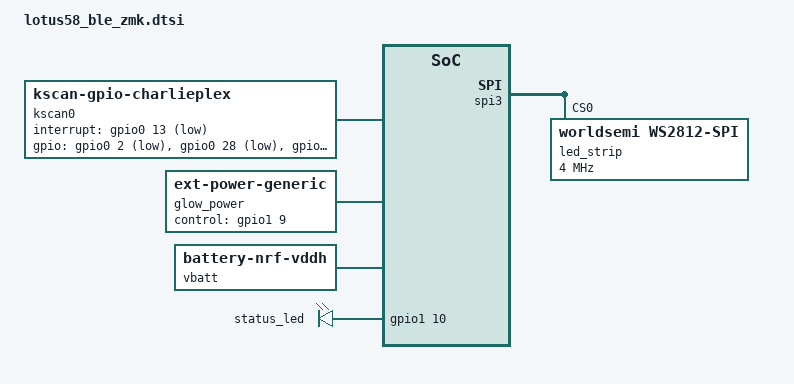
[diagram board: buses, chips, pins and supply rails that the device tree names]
// SPDX-License-Identifier: MIT

#include "lotus58_ble-layouts.dtsi" // Layout file with matrix transform and physical layout.
#include "lotus58_ble-pinctrl.dtsi" // Pin control for the RGB LEDs and nice!view display.
#include <dt-bindings/led/led.h> // Needed for the color-mapping of the LEDs.
#include <dt-bindings/zmk/hid_indicators.h> // Needed for the blue indicator LED.

/ {
	chosen {
		zmk,kscan = &kscan0;
		zmk,physical-layout = &physical_layout0; // References the layouts file.
		zmk,underglow = &led_strip; // Needed for underglow.
		zmk,battery = &vbatt; // Needed for battery level sensing.
	};

	kscan0: kscan0 {
		compatible = "zmk,kscan-gpio-charlieplex";
		wakeup-source;

		// Matrix pin-labels as taken from the schematic.
		// Pin0 = P0.02
		// Pin1 = P0.28
		// Pin2 = P0.03
		// Pin3 = P0.09
		// Pin4 = P0.10
		// Pin5 = P0.24
		// Pin6 = P0.13

		// Pin connections as noted in the schematic.
		// |      |      | Pin1 | Pin2 | Pin3 | Pin4 | Pin5 | Pin0 |
		// |      |      |      |      |      |      |      |      |
		// | Pin6 |      |      | SW01 | SW02 | SW03 | SW04 | SW05 |
		// | Pin6 |      | SW06 |      | SW07 | SW08 | SW09 | SW10 |
		// | Pin6 |      | SW11 | SW12 |      | SW13 | SW14 | SW15 |
		// | Pin6 |      | SW16 | SW17 | SW18 |      | SW19 | SW20 |
		// | Pin6 |      | SW21 | SW22 | SW23 | SW24 |      | SW25 |
		// | Pin6 |      |      | SW26 | SW27 | SW28 | SW29 |      |

		interrupt-gpios = <&gpio0 13 (GPIO_ACTIVE_LOW | GPIO_PULL_UP)>;
		gpios
			= <&gpio0  2 GPIO_ACTIVE_LOW>
			, <&gpio0 28 GPIO_ACTIVE_LOW>
			, <&gpio0  3 GPIO_ACTIVE_LOW>
			, <&gpio0  9 GPIO_ACTIVE_LOW>
			, <&gpio0 10 GPIO_ACTIVE_LOW>
			, <&gpio0 24 GPIO_ACTIVE_LOW>
			;
	};

	left_encoder: encoder-left {
		compatible = "alps,ec11";
		a-gpios = <&gpio1 11 (GPIO_ACTIVE_HIGH | GPIO_PULL_UP)>;
		b-gpios = <&gpio1 13 (GPIO_ACTIVE_HIGH | GPIO_PULL_UP)>;
		steps = <80>;

		status = "disabled";
	};

	right_encoder: encoder-right {
		compatible = "alps,ec11";
		a-gpios = <&gpio1 11 (GPIO_ACTIVE_HIGH | GPIO_PULL_UP)>;
		b-gpios = <&gpio1 13 (GPIO_ACTIVE_HIGH | GPIO_PULL_UP)>;
		steps = <80>;

		status = "disabled";
	};

	sensors: sensors {
		compatible = "zmk,keymap-sensors";
		sensors = <&left_encoder &right_encoder>;
		triggers-per-rotation = <20>;
	};

	// Controls the power of the LEDs through the onboard MOSFETs.
	// Unused because of an error on the PCB. Q3 is wired wrong and thus the power toggle doesn't work.
	glow_power: ext-power {
		compatible = "zmk,ext-power-generic";
		control-gpios = <&gpio1 9 GPIO_ACTIVE_HIGH>;
		init-delay-ms = <50>;
	};

	// Uses the nRF52840s built-in VDDH battery level sensor.
	vbatt: vbatt {
		compatible = "zmk,battery-nrf-vddh";
	};

	leds {
		compatible = "gpio-leds";
		status_led: status-led {
			gpios = <&gpio1 10 GPIO_ACTIVE_HIGH>;
		};
	};

	indicator_led: indicators {
		compatible = "zmk,indicator-leds";

		status = "disabled";

		lock_indicator: lock-indicator {
			indicator = <(HID_INDICATOR_CAPS_LOCK | HID_INDICATOR_NUM_LOCK | HID_INDICATOR_SCROLL_LOCK)>;
			leds = <&status_led>;
		};
	};
};

&spi3 {
	compatible = "nordic,nrf-spim";
	pinctrl-0 = <&spi3_default>;
	pinctrl-1 = <&spi3_sleep>;
	pinctrl-names = "default", "sleep";

	status = "okay";

	// The Lotus58 BLE uses WS2812 compatible SK6812MINI-E LEDs.
	led_strip: ws2812@0 {
		compatible = "worldsemi,ws2812-spi";
		reg = <0>;
		spi-max-frequency = <4000000>;
		chain-length = <29>; // Number of LEDs in the faux-backlight chain, matching the 29 possible switches.
		spi-one-frame = <0x70>;
		spi-zero-frame = <0x40>;
		color-mapping = <
			LED_COLOR_ID_GREEN
			LED_COLOR_ID_RED
			LED_COLOR_ID_BLUE
		>;
	};
};

nice_view_spi: &spi2 {
	compatible = "nordic,nrf-spim";
	pinctrl-0 = <&spi2_default>;
	pinctrl-1 = <&spi2_sleep>;
	pinctrl-names = "default", "sleep";
	cs-gpios = <&gpio0 31 GPIO_ACTIVE_HIGH>;

	status = "disabled";
};
